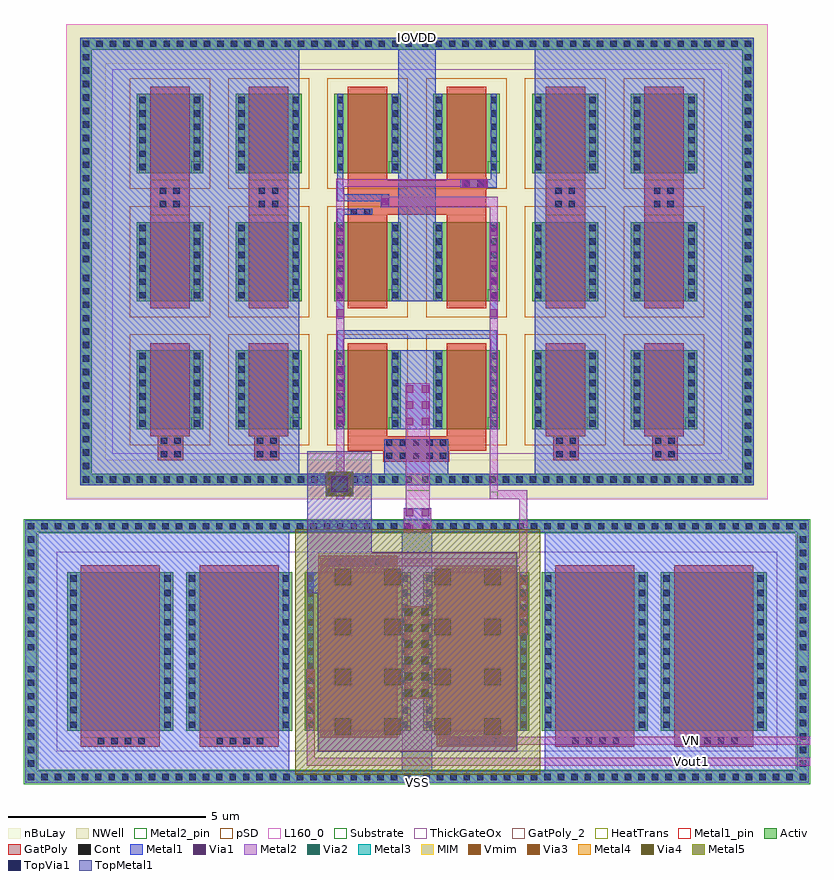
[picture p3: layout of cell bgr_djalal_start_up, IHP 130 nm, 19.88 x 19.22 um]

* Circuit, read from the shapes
.subckt bgr_djalal_start_up IOVDD VN VSS Vout1
XM1 VSS VSS VSS VSS sg13_hv_nmos w=4u l=2u m=4
XM2 VSS bgr_djalal_start_up_enable_1/Icpy Vout1 VSS sg13_hv_nmos w=4u l=2u
XM3 bgr_djalal_start_up_enable_1/Icpy VN VSS VSS sg13_hv_nmos w=4u l=2u
XM4 IOVDD IOVDD IOVDD IOVDD sg13_hv_pmos w=2u l=1u m=12
XM5 VSS IOVDD bgr_djalal_start_up_mirror_0/Iref IOVDD sg13_hv_pmos w=2u l=1u m=2
XM6 IOVDD bgr_djalal_start_up_mirror_0/Iref bgr_djalal_start_up_mirror_0/Iref IOVDD sg13_hv_pmos w=2u l=1u m=2
XM7 IOVDD bgr_djalal_start_up_mirror_0/Iref bgr_djalal_start_up_enable_1/Icpy IOVDD sg13_hv_pmos w=2u l=1u m=2
XC8 bgr_djalal_start_up_mirror_0/Iref VSS cap_cmim w=5u l=5u
.ends

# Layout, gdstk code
from math import pi, radians
import gdstk
lib = gdstk.Library(unit=1e-6, precision=1e-09)
def R(c, l, rs):  # rectangles x0, y0, x1, y1
    for r in rs: c.add(gdstk.rectangle(r[:2], r[2:], *l))
def A(c, l, x, y, w, h, nx, ny, dx, dy):  # array of equal rectangles
    R(c, l, [(x+i*dx, y+j*dy, x+i*dx+w, y+j*dy+h) for i in range(nx) for j in range(ny)])
def P(c, l, *ps):  # polygons
    for p in ps: c.add(gdstk.Polygon(p, *l))
Activ = (1, 0)
GatPoly = (5, 0)
GatPoly_2 = (5, 2)
Cont = (6, 0)
Metal1 = (8, 0)
Metal1_pin = (8, 2)
Metal2 = (10, 0)
Metal2_pin = (10, 2)
pSD = (14, 0)
Via1 = (19, 0)
Via2 = (29, 0)
Metal3 = (30, 0)
NWell = (31, 0)
nBuLay = (32, 0)
MIM = (36, 0)
Substrate = (40, 0)
ThickGateOx = (44, 0)
Via3 = (49, 0)
Metal4 = (50, 0)
HeatTrans = (51, 0)
Via4 = (66, 0)
Metal5 = (67, 0)
TopVia1 = (125, 0)
TopMetal1 = (126, 0)
Vmim = (129, 0)
L160_0 = (160, 0)

guard_ring_20 = lib.new_cell('guard_ring$20')
R(guard_ring_20, Activ, [(-8.52,-5.36,-8.22,5.36), (8.22,-5.36,8.52,5.36), (-8.52,5.36,8.52,5.66)])
P(guard_ring_20, Activ, [(-8.52,-5.66),(-8.52,5.36),(-8.22,5.36),(-8.22,-5.36),(8.22,-5.36),(8.22,5.36),(-8.52,5.36),(-8.52,5.66),(8.52,5.66),(8.52,-5.66)])
A(guard_ring_20, Cont, -8.45, -5.59, 0.16, 0.16, 25, 2, 0.34, 11.02)
A(guard_ring_20, Cont, 0.13, -5.59, 0.16, 0.16, 25, 2, 0.34, 11.02)
A(guard_ring_20, Cont, -8.45, -5.25, 0.16, 0.16, 1, 15, 0, 0.34)
A(guard_ring_20, Cont, 8.29, -5.25, 0.16, 0.16, 1, 15, 0, 0.34)
A(guard_ring_20, Cont, -8.45, -0.01, 0.16, 0.16, 1, 16, 0, 0.34)
A(guard_ring_20, Cont, 8.29, -0.01, 0.16, 0.16, 1, 16, 0, 0.34)
R(guard_ring_20, Metal1, [(-8.52,-5.66,8.52,-5.36), (-8.52,-5.36,-8.22,5.36), (8.22,-5.36,8.52,5.36), (-8.52,5.36,8.52,5.66)])
R(guard_ring_20, NWell, [(-8.87,-6.01,8.87,6.01)])
R(guard_ring_20, nBuLay, [(-8.87,-5.01,-7.87,5.01), (7.87,-5.01,8.87,5.01), (-8.87,5.01,8.87,6.01)])
P(guard_ring_20, nBuLay, [(-8.87,-6.01),(-8.87,5.01),(-7.87,5.01),(-7.87,-5.01),(7.87,-5.01),(7.87,5.01),(-8.87,5.01),(-8.87,6.01),(8.87,6.01),(8.87,-6.01)])
guard_ring_20.add(gdstk.Label('well', (0,-5.51), layer=63, texttype=0))

via_stack_39 = lib.new_cell('via_stack$39')
R(via_stack_39, GatPoly, [(-0.32,-0.15,0.32,0.15)])
R(via_stack_39, Cont, [(-0.25,-0.08,-0.09,0.08), (0.09,-0.08,0.25,0.08)])
R(via_stack_39, Metal1, [(-0.3,-0.08,0.3,0.08)])

via_stack_38 = lib.new_cell('via_stack$38')
R(via_stack_38, GatPoly, [(-0.32,-0.15,0.32,0.15)])
R(via_stack_38, Cont, [(-0.25,-0.08,-0.09,0.08), (0.09,-0.08,0.25,0.08)])
R(via_stack_38, Metal1, [(-0.35,-0.105,0.35,0.105)])
R(via_stack_38, Metal2, [(-0.35,-0.1,0.35,0.1)])
R(via_stack_38, Via1, [(-0.3,-0.095,-0.11,0.095), (0.11,-0.095,0.3,0.095)])

via_stack_41 = lib.new_cell('via_stack$41')
R(via_stack_41, Metal1, [(-0.105,-1.17,0.105,1.17)])
R(via_stack_41, Metal2, [(-0.1,-1.17,0.1,1.17)])
A(via_stack_41, Via1, -0.095, -1.12, 0.19, 0.19, 1, 6, 0, 0.41)

via_stack_3 = lib.new_cell('via_stack$3')
R(via_stack_3, Metal1, [(-0.145,-0.105,0.145,0.105)])
R(via_stack_3, Metal2, [(-0.145,-0.1,0.145,0.1)])
R(via_stack_3, Via1, [(-0.095,-0.095,0.095,0.095)])

pmoshv_6 = lib.new_cell('pmosHV$6')
R(pmoshv_6, Activ, [(0,0,0.3,0.3), (0,0,1.68,2), (1.38,0,1.68,0.3)])
R(pmoshv_6, GatPoly, [(0.34,-0.18,1.34,2.18)])
R(pmoshv_6, GatPoly_2, [(0.34,-0.18,1.34,2.18)])
A(pmoshv_6, Cont, 0.07, 0.07, 0.16, 0.16, 1, 6, 0, 0.34)
A(pmoshv_6, Cont, 1.45, 0.07, 0.16, 0.16, 1, 6, 0, 0.34)
R(pmoshv_6, Metal1, [(0.07,0,0.23,2), (1.45,0,1.61,2)])
R(pmoshv_6, Metal1_pin, [(0.07,0,0.23,2), (1.45,0,1.61,2)])
R(pmoshv_6, pSD, [(-0.18,-0.4,1.86,2.4)])
R(pmoshv_6, NWell, [(-0.62,-0.62,2.3,2.62)])
R(pmoshv_6, Substrate, [(1.38,0,1.68,0.3)])
R(pmoshv_6, ThickGateOx, [(-0.62,-0.62,2.3,2.62)])
R(pmoshv_6, HeatTrans, [(0.34,-0.18,1.34,2.18)])
pmoshv_6.add(gdstk.Label('pmosHV', (0.84,1), layer=63, texttype=0))
pmoshv_6.add(gdstk.Label('pmos', (0.84,1), layer=51, texttype=0))

via_stack_4 = lib.new_cell('via_stack$4')
R(via_stack_4, Metal1, [(-0.105,-0.76,0.105,0.76)])
R(via_stack_4, Metal2, [(-0.1,-0.76,0.1,0.76)])
A(via_stack_4, Via1, -0.095, -0.71, 0.19, 0.19, 1, 4, 0, 0.41)

via_stack_40 = lib.new_cell('via_stack$40')
R(via_stack_40, Metal1, [(-0.31,-0.555,0.31,0.555)])
R(via_stack_40, Metal2, [(-0.305,-0.555,0.305,0.555)])
A(via_stack_40, Via1, -0.3, -0.505, 0.19, 0.19, 1, 3, 0, 0.41)
A(via_stack_40, Via1, 0.11, -0.505, 0.19, 0.19, 1, 3, 0, 0.41)

via_stack_16 = lib.new_cell('via_stack$16')
R(via_stack_16, GatPoly, [(-0.83,-0.32,0.83,0.32)])
A(via_stack_16, Cont, -0.76, -0.25, 0.16, 0.16, 5, 2, 0.34, 0.34)
R(via_stack_16, Metal1, [(-0.81,-0.25,0.81,0.25)])

via_stack_42 = lib.new_cell('via_stack$42')
R(via_stack_42, GatPoly, [(-0.32,-0.32,0.32,0.32)])
R(via_stack_42, Cont, [(-0.25,-0.25,-0.09,-0.09), (0.09,-0.25,0.25,-0.09), (-0.25,0.09,-0.09,0.25), (0.09,0.09,0.25,0.25)])
R(via_stack_42, Metal1, [(-0.3,-0.25,0.3,0.25)])

bgr_djalal_start_up_mirr = lib.new_cell('bgr_djalal_start_up_mirror')
R(bgr_djalal_start_up_mirr, GatPoly, [(-1.75,-4.78,1.75,-4.42), (-6.75,1.105,-5.75,2.065), (-4.25,1.105,-3.25,2.06), (3.25,1.105,4.25,2.065), (5.75,1.105,6.75,2.065), (-1.75,1.18,1.75,2.06)])
R(bgr_djalal_start_up_mirr, Metal1, [(-8.52,-5.66,-2.98,5.665), (-0.83,-5.66,0.79,-4.49), (2.98,-5.66,8.52,5.665), (-0.64,-4.24,0.64,-2.24), (-2.02,-2.485,-1.86,-1.84), (1.86,-2.445,2.02,-1.84), (-2.02,-1.95,2.02,-1.73), (-0.48,-1,0.48,5.66), (-2.02,0.66,-1.86,1.33), (-2.02,1.18,-1.565,1.34), (-2.02,1.525,-1.86,2.24), (-2.02,1.525,-0.705,1.705), (1.565,1.87,2.02,2.08), (1.86,1.87,2.02,2.575)])
R(bgr_djalal_start_up_mirr, Metal1_pin, [(-1.62,5.365,1.88,5.66)])
R(bgr_djalal_start_up_mirr, Metal2, [(-2.04,-6.01,-1.84,2.095), (-0.29,-6.01,0.32,-4.145), (1.84,-6.01,2.04,1.645), (-0.765,1.38,2.04,1.64), (-2.04,1.89,1.795,2.09)])
R(bgr_djalal_start_up_mirr, Metal2_pin, [(-2.04,-6.01,-1.84,-5.79), (-0.29,-6.01,0.32,-5.78), (1.84,-6.01,2.04,-5.82)])
R(bgr_djalal_start_up_mirr, L160_0, [(-8.87,-6.01,8.87,6.01)])
bgr_djalal_start_up_mirr.add(gdstk.Reference(guard_ring_20, (0,0)))
bgr_djalal_start_up_mirr.add(gdstk.Reference(via_stack_39, (-1.43,1.26)))
bgr_djalal_start_up_mirr.add(gdstk.Reference(via_stack_38, (1.44,1.975)))
bgr_djalal_start_up_mirr.add(gdstk.Reference(via_stack_41, (-1.94,-0.28)))
bgr_djalal_start_up_mirr.add(gdstk.Reference(via_stack_3, (-0.81,1.525), rotation=3*pi/2))
bgr_djalal_start_up_mirr.add(gdstk.Reference(via_stack_41, (1.94,-0.28)))
r = gdstk.Reference(pmoshv_6, (-7.09,-4.24)); r.repetition = gdstk.Repetition(6, 3, v1=(2.5,0), v2=(0,3.24)); bgr_djalal_start_up_mirr.add(r)
bgr_djalal_start_up_mirr.add(gdstk.Reference(via_stack_4, (-1.935,-3.375)))
bgr_djalal_start_up_mirr.add(gdstk.Reference(via_stack_40, (0.015,-3.63)))
bgr_djalal_start_up_mirr.add(gdstk.Reference(via_stack_16, (-0.02,-4.74)))
bgr_djalal_start_up_mirr.add(gdstk.Reference(via_stack_42, (3.745,1.625)))
bgr_djalal_start_up_mirr.add(gdstk.Reference(via_stack_42, (-3.755,1.625)))
bgr_djalal_start_up_mirr.add(gdstk.Reference(via_stack_42, (3.77,-4.7)))
bgr_djalal_start_up_mirr.add(gdstk.Reference(via_stack_42, (-3.8,-4.7)))
bgr_djalal_start_up_mirr.add(gdstk.Reference(via_stack_42, (6.245,1.625)))
bgr_djalal_start_up_mirr.add(gdstk.Reference(via_stack_42, (6.27,-4.7)))
bgr_djalal_start_up_mirr.add(gdstk.Reference(via_stack_42, (-6.255,1.625)))
bgr_djalal_start_up_mirr.add(gdstk.Reference(via_stack_42, (-6.23,-4.7)))
bgr_djalal_start_up_mirr.add(gdstk.Label('IOVDD', (0,5.665), layer=8, texttype=2))
bgr_djalal_start_up_mirr.add(gdstk.Label('Iref', (-1.94,-6.01), layer=10, texttype=2))
bgr_djalal_start_up_mirr.add(gdstk.Label('Icpy', (1.94,-6.01), layer=10, texttype=2))
bgr_djalal_start_up_mirr.add(gdstk.Label('VSS', (0,-6.01), layer=10, texttype=2))

nmoshv_7 = lib.new_cell('nmosHV$7')
R(nmoshv_7, Activ, [(0,0,0.3,0.3), (0,0,2.68,4), (2.38,0,2.68,0.3)])
R(nmoshv_7, GatPoly, [(0.34,-0.18,2.34,4.18)])
R(nmoshv_7, GatPoly_2, [(0.34,-0.18,2.34,4.18)])
A(nmoshv_7, Cont, 0.07, 0.07, 0.16, 0.16, 1, 11, 0, 0.37)
A(nmoshv_7, Cont, 2.45, 0.07, 0.16, 0.16, 1, 11, 0, 0.37)
R(nmoshv_7, Metal1, [(0.07,0,0.23,4), (2.45,0,2.61,4)])
R(nmoshv_7, Metal1_pin, [(0.07,0,0.23,4), (2.45,0,2.61,4)])
R(nmoshv_7, ThickGateOx, [(-0.27,-0.52,2.95,4.52)])
R(nmoshv_7, HeatTrans, [(0.34,-0.18,2.34,4.18)])
nmoshv_7.add(gdstk.Label('nmosHV', (1.34,2), layer=63, texttype=0))
nmoshv_7.add(gdstk.Label('nmosHV', (1.34,2), layer=51, texttype=0))

guard_ring_14 = lib.new_cell('guard_ring$14')
R(guard_ring_14, Activ, [(-9.91,-3.02,-9.61,3.02), (9.61,-3.02,9.91,3.02), (-9.91,3.02,9.91,3.32)])
P(guard_ring_14, Activ, [(-9.91,-3.32),(-9.91,3.02),(-9.61,3.02),(-9.61,-3.02),(9.61,-3.02),(9.61,3.02),(-9.91,3.02),(-9.91,3.32),(9.91,3.32),(9.91,-3.32)])
A(guard_ring_14, Cont, -9.84, -3.25, 0.16, 0.16, 29, 2, 0.34, 6.34)
A(guard_ring_14, Cont, 0.16, -3.25, 0.16, 0.16, 29, 2, 0.34, 6.34)
A(guard_ring_14, Cont, -9.84, -2.91, 0.16, 0.16, 1, 8, 0, 0.34)
A(guard_ring_14, Cont, 9.68, -2.91, 0.16, 0.16, 1, 8, 0, 0.34)
A(guard_ring_14, Cont, -9.84, 0.03, 0.16, 0.16, 1, 9, 0, 0.34)
A(guard_ring_14, Cont, 9.68, 0.03, 0.16, 0.16, 1, 9, 0, 0.34)
R(guard_ring_14, Metal1, [(-9.91,-3.32,9.91,-3.02), (-9.91,-3.02,-9.61,3.02), (9.61,-3.02,9.91,3.02), (-9.91,3.02,9.91,3.32)])
R(guard_ring_14, pSD, [(-9.94,-2.99,-9.58,2.99), (9.58,-2.99,9.94,2.99), (-9.94,2.99,9.94,3.35)])
P(guard_ring_14, pSD, [(-9.94,-3.35),(-9.94,2.99),(-9.58,2.99),(-9.58,-2.99),(9.58,-2.99),(9.58,2.99),(-9.94,2.99),(-9.94,3.35),(9.94,3.35),(9.94,-3.35)])
R(guard_ring_14, Substrate, [(-9.94,-2.99,-9.58,2.99), (9.58,-2.99,9.94,2.99), (-9.94,2.99,9.94,3.35)])
P(guard_ring_14, Substrate, [(-9.94,-3.35),(-9.94,2.99),(-9.58,2.99),(-9.58,-2.99),(9.58,-2.99),(9.58,2.99),(-9.94,2.99),(-9.94,3.35),(9.94,3.35),(9.94,-3.35)])
guard_ring_14.add(gdstk.Label('sub!', (0,-3.17), layer=63, texttype=0))

via_stack_14 = lib.new_cell('via_stack$14')
R(via_stack_14, GatPoly, [(-0.66,-0.15,0.66,0.15)])
A(via_stack_14, Cont, -0.59, -0.08, 0.16, 0.16, 4, 1, 0.34, 0)
R(via_stack_14, Metal1, [(-0.76,-0.105,0.76,0.105)])
R(via_stack_14, Metal2, [(-0.76,-0.1,0.76,0.1)])
A(via_stack_14, Via1, -0.71, -0.095, 0.19, 0.19, 4, 1, 0.41, 0)

via_stack_43 = lib.new_cell('via_stack$43')
R(via_stack_43, GatPoly, [(-0.66,-0.15,0.66,0.15)])
A(via_stack_43, Cont, -0.59, -0.08, 0.16, 0.16, 4, 1, 0.34, 0)
R(via_stack_43, Metal1, [(-0.64,-0.08,0.64,0.08)])

bgr_djalal_start_up_enab = lib.new_cell('bgr_djalal_start_up_enable')
A(bgr_djalal_start_up_enab, GatPoly, -8.5, -2.41, 2, 0.31, 3, 1, 3, 0)
R(bgr_djalal_start_up_enab, GatPoly, [(3.5,-2.41,5.5,-2.1), (6.5,-2.41,8.5,-2.1), (0.5,2.11,2.5,2.42)])
R(bgr_djalal_start_up_enab, Metal1, [(-9.91,-3.32,-3.23,3.32), (-0.39,-3.32,0.39,3.32), (3.23,-3.32,9.91,3.32)])
R(bgr_djalal_start_up_enab, Metal1_pin, [(-1.255,-3.32,1.22,-3.02)])
R(bgr_djalal_start_up_enab, Metal2, [(-9.94,-2.89,2.79,-2.69), (2.59,-2.89,2.79,-1.26), (-9.94,-2.36,-1.98,-2.16), (-2.79,1.72,-2.59,3.35), (-2.79,2.16,0.825,2.36)])
R(bgr_djalal_start_up_enab, Metal2_pin, [(-9.94,-2.89,-9.74,-2.69), (-9.94,-2.36,-9.68,-2.16), (-2.79,3.125,-2.59,3.35)])
R(bgr_djalal_start_up_enab, L160_0, [(-9.91,-3.32,9.91,3.32)])
r = gdstk.Reference(nmoshv_7, (-8.84,-2)); r.repetition = gdstk.Repetition(6, 1, v1=(3,0), v2=(0,0)); bgr_djalal_start_up_enab.add(r)
bgr_djalal_start_up_enab.add(gdstk.Reference(guard_ring_14, (0,0)))
bgr_djalal_start_up_enab.add(gdstk.Reference(via_stack_14, (-1.52,-2.26)))
bgr_djalal_start_up_enab.add(gdstk.Reference(via_stack_14, (1.48,2.26)))
bgr_djalal_start_up_enab.add(gdstk.Reference(via_stack_4, (-2.69,1.175)))
bgr_djalal_start_up_enab.add(gdstk.Reference(via_stack_4, (2.69,-1.2)))
bgr_djalal_start_up_enab.add(gdstk.Reference(via_stack_43, (4.48,-2.26)))
bgr_djalal_start_up_enab.add(gdstk.Reference(via_stack_43, (-4.52,-2.26)))
bgr_djalal_start_up_enab.add(gdstk.Reference(via_stack_43, (7.48,-2.26)))
bgr_djalal_start_up_enab.add(gdstk.Reference(via_stack_43, (-7.52,-2.26)))
bgr_djalal_start_up_enab.add(gdstk.Label('VSS', (0,-3.32), layer=8, texttype=2))
bgr_djalal_start_up_enab.add(gdstk.Label('Vout1', (-9.93,-2.735), layer=10, texttype=2))
bgr_djalal_start_up_enab.add(gdstk.Label('VN', (-9.94,-2.26), layer=10, texttype=2))
bgr_djalal_start_up_enab.add(gdstk.Label('Icpy', (-2.69,3.35), layer=10, texttype=2))

cmim_2 = lib.new_cell('cmim$2')
R(cmim_2, MIM, [(0,0,5,5)])
R(cmim_2, Metal5, [(-0.6,-0.6,5.6,5.6)])
R(cmim_2, TopMetal1, [(-0.02,-0.02,5.02,5.02)])
A(cmim_2, Vmim, 0.4, 0.4, 0.42, 0.42, 4, 4, 1.26, 1.26)

via_stack_26 = lib.new_cell('via_stack$26')
R(via_stack_26, Metal2, [(-0.35,-0.305,0.35,0.305)])
R(via_stack_26, Via2, [(-0.3,-0.3,-0.11,-0.11), (0.11,-0.3,0.3,-0.11), (-0.3,0.11,-0.11,0.3), (0.11,0.11,0.3,0.3)])
R(via_stack_26, Metal3, [(-0.35,-0.305,0.35,0.305)])
R(via_stack_26, Via3, [(-0.3,-0.3,-0.11,-0.11), (0.11,-0.3,0.3,-0.11), (-0.3,0.11,-0.11,0.3), (0.11,0.11,0.3,0.3)])
R(via_stack_26, Metal4, [(-0.35,-0.305,0.35,0.305)])
R(via_stack_26, Via4, [(-0.3,-0.3,-0.11,-0.11), (0.11,-0.3,0.3,-0.11), (-0.3,0.11,-0.11,0.3), (0.11,0.11,0.3,0.3)])
R(via_stack_26, Metal5, [(-0.35,-0.31,0.35,0.31)])
R(via_stack_26, TopVia1, [(-0.21,-0.21,0.21,0.21)])
R(via_stack_26, TopMetal1, [(-0.82,-0.82,0.82,0.82)])

via_stack_45 = lib.new_cell('via_stack$45')
R(via_stack_45, Metal1, [(-0.31,-1.17,0.31,1.17)])
R(via_stack_45, Metal2, [(-0.305,-1.17,0.305,1.17)])
A(via_stack_45, Via1, -0.3, -1.12, 0.19, 0.19, 1, 6, 0, 0.41)
A(via_stack_45, Via1, 0.11, -1.12, 0.19, 0.19, 1, 6, 0, 0.41)
A(via_stack_45, Via2, -0.3, -1.12, 0.19, 0.19, 1, 6, 0, 0.41)
A(via_stack_45, Via2, 0.11, -1.12, 0.19, 0.19, 1, 6, 0, 0.41)
R(via_stack_45, Metal3, [(-0.305,-1.17,0.305,1.17)])
A(via_stack_45, Via3, -0.3, -1.12, 0.19, 0.19, 1, 6, 0, 0.41)
A(via_stack_45, Via3, 0.11, -1.12, 0.19, 0.19, 1, 6, 0, 0.41)
R(via_stack_45, Metal4, [(-0.305,-1.17,0.305,1.17)])
A(via_stack_45, Via4, -0.3, -1.12, 0.19, 0.19, 1, 6, 0, 0.41)
A(via_stack_45, Via4, 0.11, -1.12, 0.19, 0.19, 1, 6, 0, 0.41)
R(via_stack_45, Metal5, [(-0.305,-1.17,0.305,1.17)])

via_stack_21 = lib.new_cell('via_stack$21')
R(via_stack_21, Metal1, [(-0.35,-0.31,0.35,0.31)])
R(via_stack_21, Metal2, [(-0.35,-0.305,0.35,0.305)])
R(via_stack_21, Via1, [(-0.3,-0.3,-0.11,-0.11), (0.11,-0.3,0.3,-0.11), (-0.3,0.11,-0.11,0.3), (0.11,0.11,0.3,0.3)])

bgr_djalal_start_up = lib.new_cell('bgr_djalal_start_up')
R(bgr_djalal_start_up, Metal2, [(-0.29,-0.58,0.32,0.52), (2.59,-0.363,2.79,0.44), (1.84,0.25,2.79,0.48)])
R(bgr_djalal_start_up, TopMetal1, [(-2.78,-2.12,-1.14,0.095)])
bgr_djalal_start_up.add(gdstk.Reference(bgr_djalal_start_up_mirr, (0,6.26)))
bgr_djalal_start_up.add(gdstk.Reference(bgr_djalal_start_up_enab, (0,-3.6), rotation=pi, x_reflection=True))
bgr_djalal_start_up.add(gdstk.Reference(cmim_2, (-2.485,-6.11)))
bgr_djalal_start_up.add(gdstk.Reference(via_stack_26, (-1.96,0.64)))
bgr_djalal_start_up.add(gdstk.Reference(via_stack_45, (-0.005,-3.62)))
bgr_djalal_start_up.add(gdstk.Reference(via_stack_21, (0.01,-0.29)))
bgr_djalal_start_up.add(gdstk.Label('IOVDD', (0,11.92), layer=8, texttype=2))
bgr_djalal_start_up.add(gdstk.Label('VSS', (0,-6.92), layer=8, texttype=2))
bgr_djalal_start_up.add(gdstk.Label('VN', (6.94,-5.86), layer=10, texttype=2))
bgr_djalal_start_up.add(gdstk.Label('Vout1', (6.94,-6.39), layer=10, texttype=2))

lib.write_gds('bgr_djalal_start_up.gds')
